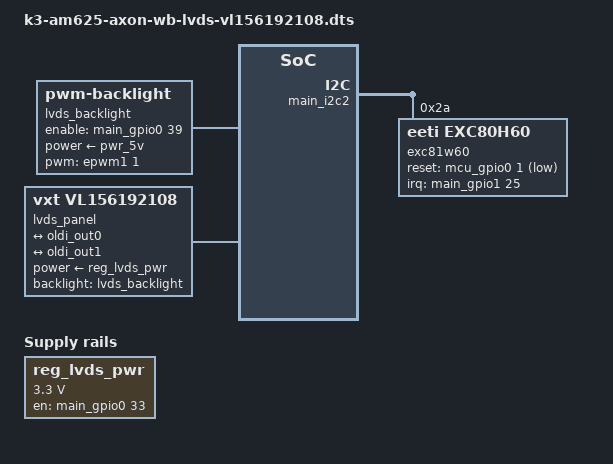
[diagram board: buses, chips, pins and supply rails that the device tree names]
// SPDX-License-Identifier: GPL-2.0
/*
 * Copyright (C) 2021-2022 Texas Instruments Incorporated - https://www.ti.com/
 * Copyright 2022 TechNexion Ltd.
 *
 * Author: Ray Chang <ray.chang@technexion.com>
 *
 */

/dts-v1/;
/plugin/;

#include <dt-bindings/gpio/gpio.h>
#include <dt-bindings/interrupt-controller/irq.h>


/ {
	fragment@101 {
		target-path = "/";

		__overlay__ {
			reg_lvds_pwr: regulator_lvdspwr {
				compatible = "regulator-fixed";
				pinctrl-names = "default";
				pinctrl-0 = <&main_gpio0_lvds_pwr_pins_default>;
				regulator-name = "LVDS_VLED_EN";
				regulator-min-microvolt = <3300000>;
				regulator-max-microvolt = <3300000>;
				gpio = <&main_gpio0 33 GPIO_ACTIVE_HIGH>;
				enable-active-high;
			};

			lvds_backlight: lvds_backlight {
				compatible = "pwm-backlight";
				pinctrl-names = "default";
				pinctrl-0 = <&main_gpio0_lvds_backlight_pwr_pins_default>;
				enable-gpios = <&main_gpio0 39 GPIO_ACTIVE_HIGH>;
				power-supply = <&pwr_5v>;
				pwms = <&epwm1 1 50000 0>;
				brightness-levels = <7 255>;
				num-interpolated-steps = <248>;
				default-brightness-level = <100>;
			};

			lvds_panel {
				compatible = "vxt,vl156192108", "panel-lvds";
				backlight = <&lvds_backlight>;
				power-supply = <&reg_lvds_pwr>;

				data-mapping = "vesa-24";
				height-mm = <193>;
				width-mm = <344>;

				panel-timing {
					clock-frequency = <141860000>;
					hactive = <1920>;
					vactive = <1080>;
					vback-porch = <10>;
					vfront-porch = <10>;
					hback-porch = <35>;
					hfront-porch = <34>;
					vsync-len = <10>;
					hsync-len = <35>;
					de-active = <1>;
				};

				/*
				* Note that the OLDI TX 0 transmits the odd set of pixels
				* while the OLDI TX 1 transmits the even set. This is a
				* fixed configuration in the IP integration and is not
				* changeable. The properties, "dual-lvds-odd-pixels" and
				* "dual-lvds-even-pixels" have been used to merely
				* identify if a Dual Link configuration is required.
				* Swapping them will not make any difference.
				*/
				port@0 {
					dual-lvds-odd-pixels;
					panel_lvds_in0: endpoint {
						remote-endpoint = <&oldi_out0>;
					};
				};

				port@1 {
					dual-lvds-even-pixels;
					panel_lvds_in1: endpoint {
						remote-endpoint = <&oldi_out1>;
					};
				};
			};
		};
	};
};

&dss_ports {
	#address-cells = <1>;
	#size-cells = <0>;

	/* VP1: LVDS Output (OLDI TX 0) */
	port@0 {
		reg = <0>;
		oldi_out0: endpoint {
			remote-endpoint = <&panel_lvds_in0>;
		};
	};

	/* VP1: LVDS Output (OLDI TX 1) */
	port@2 {
		reg = <2>;
		oldi_out1: endpoint {
			remote-endpoint = <&panel_lvds_in1>;
		};
	};
};

/* I2C_C */
&main_i2c2 {
	#address-cells = <1>;
	#size-cells = <0>;

	exc81w60: touchscreen@2a {
		compatible = "eeti,exc80h60";
		reg = <0x2a>;
		pinctrl-names = "default";
		pinctrl-0 = <&main_gpio1_touch_intr_pins_default &mcu_gpio0_touch_nrst_pins_default>;
		reset-gpios = <&mcu_gpio0 1 GPIO_ACTIVE_LOW>; /* TOUCH_nRST, SPI_B_CS1 */
		interrupt-parent = <&main_gpio1>; /* TOUCH_nINT, GPIO_X2_P24 */
		interrupts = <25 IRQ_TYPE_EDGE_FALLING>;
	};
};
